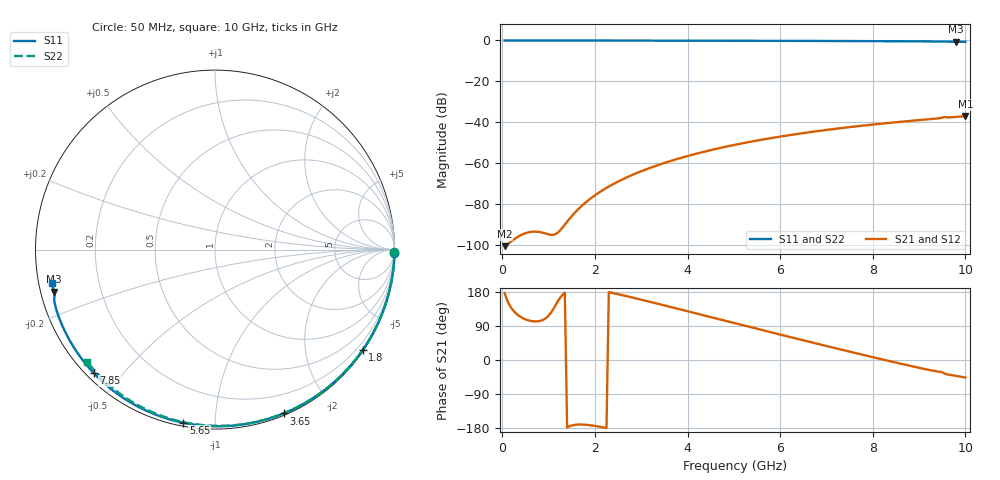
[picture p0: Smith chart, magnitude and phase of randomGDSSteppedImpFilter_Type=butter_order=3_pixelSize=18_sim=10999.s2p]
! freq	dB(S11)	phase(S11)	dB(S12)	phase(S12)
!  dB(S21)	phase(S21)	dB(S22)	phase(S22)
!S-par simulation data
#  GHz  S  DB  R 50
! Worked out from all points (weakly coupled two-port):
!   200 points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, 50 MHz to 10 GHz, reference 50 ohm
!   highest |S21| = -36.95 dB at 10 GHz (marker M1); lowest = -100.4 dB at 50 MHz (marker M2)
!   lowest |S11| = -0.7 dB at 9.8 GHz (marker M3), VSWR 26.08, Z = 1.95 - j6.44 ohm
!   |S11| at or under -10 dB: nowhere
!   |S22| runs from -0.5 to 0.0 dB; largest |S21 - S12| = 0
!   S11 on the Smith chart (normalised r, x): 50 MHz: open; 1.8 GHz: 0.03, -3.26; 3.65 GHz: 0.02, -1.50; 5.65 GHz: 0.02, -0.83; 7.85 GHz: 0.02, -0.42; 10 GHz: 0.04, -0.10
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0.05  -0.00 -1.0  -100.40 176.7  -100.40 176.7  -0.00 -0.8
0.85  -0.02 -16.3  -93.69 104.3  -93.69 104.3  -0.01 -13.6
1.3  -0.03 -24.8  -91.31 172.0  -91.31 172.0  -0.03 -20.7
1.75  -0.04 -33.2  -80.03 -170.4  -80.03 -170.4  -0.04 -27.7
1.8  -0.04 -34.1  -79.06 -170.9  -79.06 -170.9  -0.04 -28.4
2.1  -0.05 -39.7  -74.05 -176.1  -74.05 -176.1  -0.04 -33.1
2.5  -0.06 -46.9  -68.87 173.7  -68.87 173.7  -0.05 -39.2
2.9  -0.07 -54.1  -64.74 162.2  -64.74 162.2  -0.06 -45.2
3.4  -0.08 -62.9  -60.53 147.1  -60.53 147.1  -0.07 -52.6
3.65  -0.09 -67.3  -58.71 139.5  -58.71 139.5  -0.08 -56.3
4.35  -0.11 -79.2  -54.35 117.9  -54.35 117.9  -0.09 -66.3
5.05  -0.14 -90.7  -50.80 96.2  -50.80 96.2  -0.12 -76.1
5.65  -0.17 -100.4  -48.24 77.8  -48.24 77.8  -0.14 -84.2
6.15  -0.19 -108.3  -46.39 62.5  -46.39 62.5  -0.16 -90.8
6.7  -0.23 -116.8  -44.57 45.9  -44.57 45.9  -0.19 -98.0
7.85  -0.32 -134.6  -41.40 11.8  -41.40 11.8  -0.26 -112.5
8.35  -0.36 -142.3  -40.23 -2.6  -40.23 -2.6  -0.30 -118.7
9.25  -0.46 -156.6  -38.39 -27.1  -38.39 -27.1  -0.39 -129.6
9.45  -0.50 -159.9  -37.92 -31.2  -37.92 -31.2  -0.41 -132.0
9.55  -0.53 -161.7  -37.37 -35.8  -37.37 -35.8  -0.42 -133.2
9.8  -0.67 -165.3  -37.32 -41.9  -37.32 -41.9  -0.45 -136.3
10  -0.64 -168.3  -36.95 -46.2  -36.95 -46.2  -0.47 -138.7
